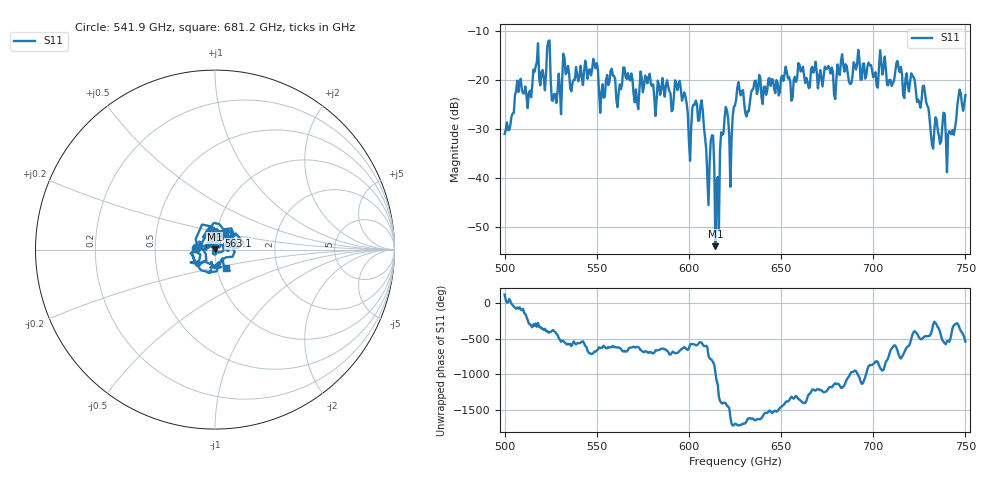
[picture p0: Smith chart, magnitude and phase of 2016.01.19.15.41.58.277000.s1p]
!Created with skrf (http://scikit-rf.org).
# GHz S RI R 50.0
!freq ReS11 ImS11
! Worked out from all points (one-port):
!   401 points, 500 GHz to 750 GHz, reference 50 ohm
!   lowest |S11| = -54.0 dB at 614.4 GHz (marker M1), VSWR 1.00, Z = 49.9 + j0.193 ohm
!   |S11| at or under -10 dB: start of sweep to end of sweep
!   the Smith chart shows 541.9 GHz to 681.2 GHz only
!   S11 on the Smith chart (normalised r, x): 541.9 GHz: 0.81, +0.02; 563.1 GHz: 1.03, +0.16; 681.2 GHz: 1.10, -0.22
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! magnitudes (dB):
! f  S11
! 500 GHz  -31.0
! 507.5 GHz  -22.5
! 513.8 GHz  -22.2
! 516.9 GHz  -17.2
! 520.6 GHz  -18.0
! 523.8 GHz  -12.0
! 526.9 GHz  -22.8
! 531.2 GHz  -19.7
! 541.9 GHz  -19.5
! 562.5 GHz  -20.9
! 563.1 GHz  -21.9
! 593.8 GHz  -22.1
! 600 GHz  -32.5
! 606.9 GHz  -24.2
! 610 GHz  -39.7
! 612.5 GHz  -31.3
! 614.4 GHz  -54.0
! 615.6 GHz  -39.8
! 618.8 GHz  -30.8
! 622.5 GHz  -41.8
! 625 GHz  -25.2
! 656.2 GHz  -23.7
! 681.2 GHz  -18.7
! 687.5 GHz  -20.8
! 705 GHz  -18.9
! 718.8 GHz  -21.1
! 740.6 GHz  -31.2
! 750 GHz  -23.1
